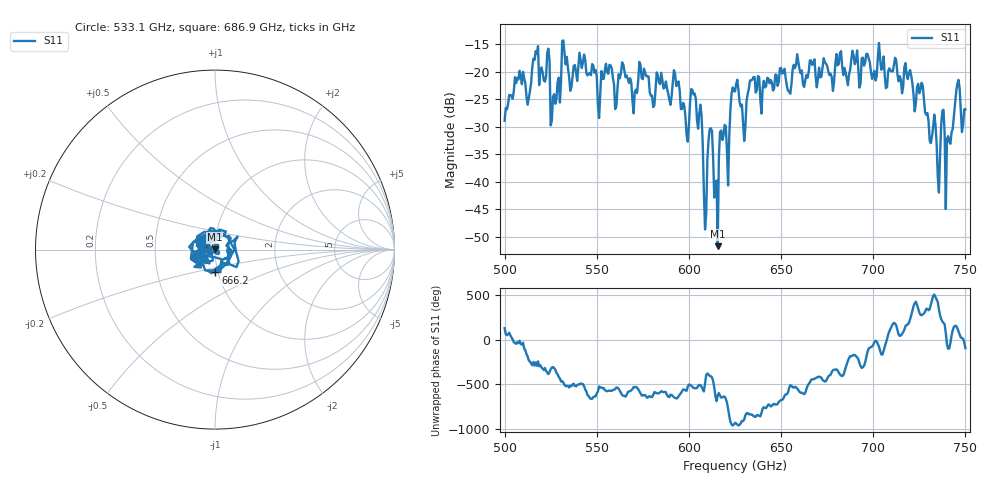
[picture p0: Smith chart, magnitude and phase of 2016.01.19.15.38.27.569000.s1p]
!Created with skrf (http://scikit-rf.org).
# GHz S RI R 50.0
!freq ReS11 ImS11
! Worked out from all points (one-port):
!   401 points, 500 GHz to 750 GHz, reference 50 ohm
!   lowest |S11| = -51.8 dB at 615.6 GHz (marker M1), VSWR 1.01, Z = 50 + j0.256 ohm
!   |S11| at or under -10 dB: start of sweep to end of sweep
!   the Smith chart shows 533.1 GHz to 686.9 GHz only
!   S11 on the Smith chart (normalised r, x): 533.1 GHz: 0.80, -0.07; 666.2 GHz: 0.97, -0.25; 686.9 GHz: 0.84, +0.06
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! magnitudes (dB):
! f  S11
! 500 GHz  -28.9
! 506.9 GHz  -21.1
! 513.1 GHz  -24.8
! 516.9 GHz  -16.2
! 526.2 GHz  -24.5
! 531.2 GHz  -14.4
! 533.1 GHz  -18.6
! 562.5 GHz  -21.1
! 593.8 GHz  -22.3
! 598.8 GHz  -31.5
! 602.5 GHz  -24.1
! 606.2 GHz  -26.0
! 608.8 GHz  -48.7
! 611.2 GHz  -30.5
! 615.6 GHz  -51.8
! 625 GHz  -23.6
! 629.4 GHz  -29.4
! 634.4 GHz  -21.4
! 656.2 GHz  -19.6
! 666.2 GHz  -17.9
! 686.9 GHz  -20.5
! 687.5 GHz  -19.6
! 718.8 GHz  -21.3
! 735 GHz  -39.0
! 737.5 GHz  -27.1
! 740.6 GHz  -31.7
! 745.6 GHz  -22.2
! 750 GHz  -26.8
